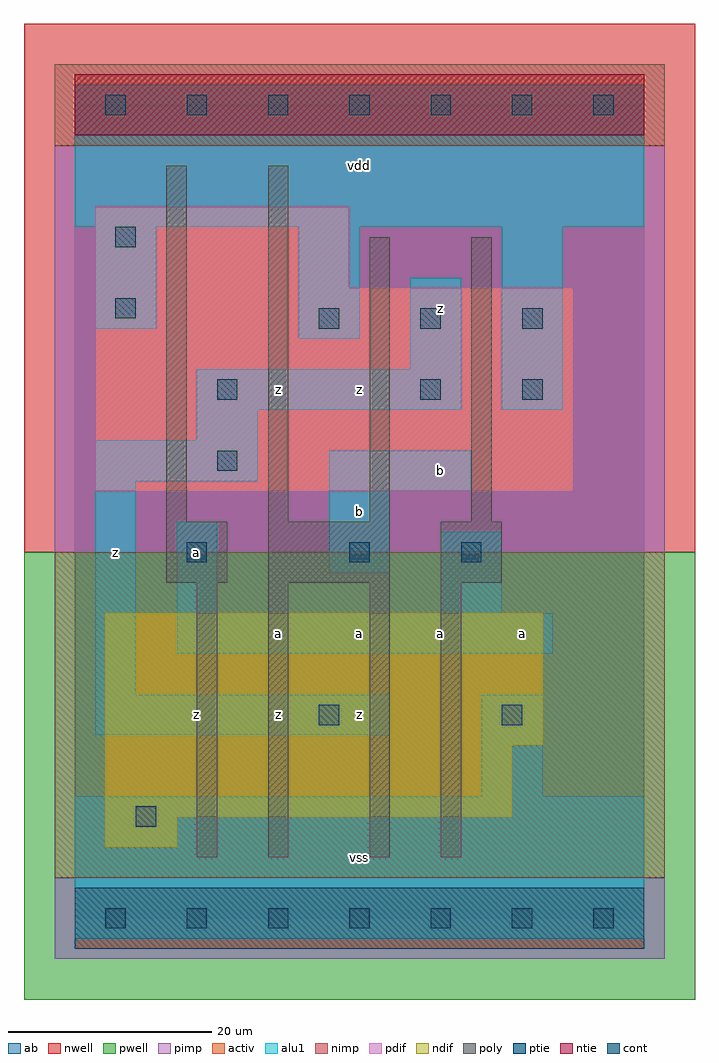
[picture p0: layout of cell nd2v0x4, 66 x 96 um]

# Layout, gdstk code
import gdstk
lib = gdstk.Library(unit=1e-6, precision=1e-09)
def R(c, l, rs):  # rectangles x0, y0, x1, y1
    for r in rs: c.add(gdstk.rectangle(r[:2], r[2:], *l))
def A(c, l, x, y, w, h, nx, ny, dx, dy):  # array of equal rectangles
    R(c, l, [(x+i*dx, y+j*dy, x+i*dx+w, y+j*dy+h) for i in range(nx) for j in range(ny)])
ndif = (3, 0)
pdif = (4, 0)
ntie = (5, 0)
ptie = (6, 0)
cont = (25, 0)
pwell = (41, 0)
nwell = (42, 0)
activ = (43, 0)
pimp = (44, 0)
nimp = (45, 0)
poly = (46, 0)
alu1 = (49, 0)
ab = (63, 0)

nd2v0x4 = lib.new_cell('nd2v0x4')
R(nd2v0x4, ndif, [(3,7,10,10), (3,10,43,17), (3,17,46,30)])
R(nd2v0x4, pdif, [(2,42,49,62), (2,62,27,70)])
R(nd2v0x4, ntie, [(0,77,56,83)])
R(nd2v0x4, ptie, [(0,-3,56,3)])
A(nd2v0x4, cont, 3, -1, 2, 2, 7, 2, 8, 80)
A(nd2v0x4, cont, 24, 58, 2, 2, 3, 1, 10, 0)
R(nd2v0x4, cont, [(6,9,8,11), (24,19,26,21), (42,19,44,21), (11,35,13,37), (27,35,29,37), (38,35,40,37), (14,44,16,46), (14,51,16,53), (34,51,36,53), (44,51,46,53), (4,59,6,61), (4,66,6,68)])
R(nd2v0x4, pwell, [(-5,-8,61,36)])
R(nd2v0x4, nwell, [(-5,36,61,88)])
R(nd2v0x4, activ, [(0,-3,56,3), (3,7,10,10), (3,10,43,17), (3,17,46,30), (2,42,49,62), (2,62,27,70), (0,77,56,83)])
R(nd2v0x4, pimp, [(-2,-4,58,4), (-2,36,58,76)])
R(nd2v0x4, nimp, [(-2,4,58,36), (-2,76,58,84)])
R(nd2v0x4, poly, [(12,6,14,33), (19,6,21,33), (29,6,31,33), (36,6,38,33), (9,33,15,39), (19,33,31,39), (36,33,42,39), (9,39,11,74), (19,39,21,74), (29,39,31,67), (39,39,41,67)])
R(nd2v0x4, alu1, [(0,-2,56,12), (40,12,46,22), (2,18,31,22), (2,22,6,43), (10,26,47,30), (10,30,14,39), (36,30,42,38), (25,34,31,42), (25,42,39,46), (2,43,18,47), (12,47,18,50), (12,50,38,54), (42,50,48,68), (33,54,38,63), (22,57,28,68), (2,58,8,68), (0,68,56,82)])
R(nd2v0x4, ab, [(0,0,56,80)])
nd2v0x4.add(gdstk.Label('z', (4,36), layer=49, texttype=0))
nd2v0x4.add(gdstk.Label('z', (20,20), layer=49, texttype=0))
nd2v0x4.add(gdstk.Label('z', (12,20), layer=49, texttype=0))
nd2v0x4.add(gdstk.Label('a', (12,36), layer=49, texttype=0))
nd2v0x4.add(gdstk.Label('a', (20,28), layer=49, texttype=0))
nd2v0x4.add(gdstk.Label('z', (20,52), layer=49, texttype=0))
nd2v0x4.add(gdstk.Label('vss', (28,6), layer=49, texttype=0))
nd2v0x4.add(gdstk.Label('z', (28,20), layer=49, texttype=0))
nd2v0x4.add(gdstk.Label('a', (28,28), layer=49, texttype=0))
nd2v0x4.add(gdstk.Label('a', (36,28), layer=49, texttype=0))
nd2v0x4.add(gdstk.Label('b', (36,44), layer=49, texttype=0))
nd2v0x4.add(gdstk.Label('b', (28,40), layer=49, texttype=0))
nd2v0x4.add(gdstk.Label('z', (28,52), layer=49, texttype=0))
nd2v0x4.add(gdstk.Label('z', (36,60), layer=49, texttype=0))
nd2v0x4.add(gdstk.Label('vdd', (28,74), layer=49, texttype=0))
nd2v0x4.add(gdstk.Label('a', (44,28), layer=49, texttype=0))

lib.write_gds('nd2v0x4.gds')
